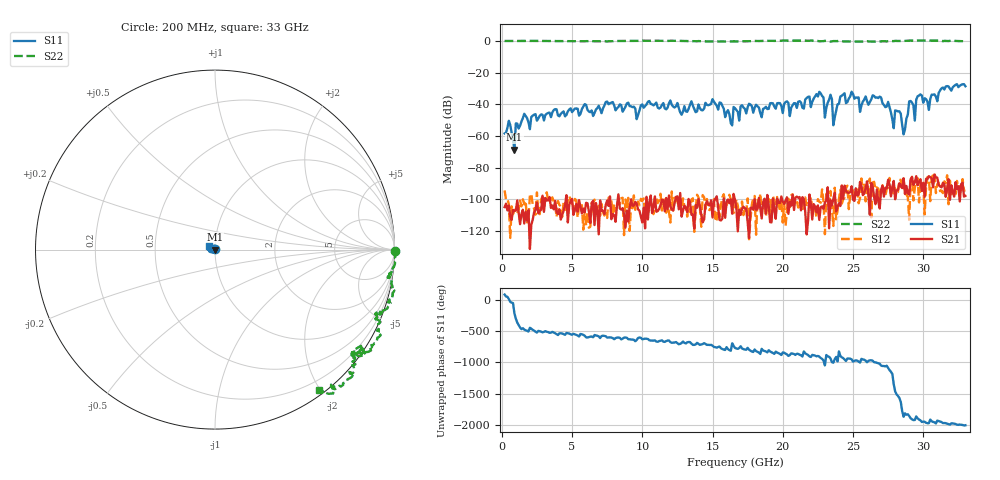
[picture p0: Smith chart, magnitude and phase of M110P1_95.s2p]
# GHZ S RI R 50
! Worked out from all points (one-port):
!   329 points, 200 MHz to 33 GHz, reference 50 ohm
!   lowest |S11| = -68.6 dB at 900 MHz (marker M1), VSWR 1.00, Z = 50 + j0.023 ohm
!   |S11| at or under -10 dB: start of sweep to end of sweep
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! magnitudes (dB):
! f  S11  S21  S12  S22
! 200 MHz  -58.4  -104.9  -94.4  0.0
! 500 MHz  -50.4  -104.0  -103.0  0.0
! 900 MHz  -68.6  -107.4  -106.6  0.0
! 1 GHz  -52.1  -107.0  -109.2  0.1
! 1.6 GHz  -46.0  -115.3  -103.2  0.0
! 5.7 GHz  -43.0  -109.0  -103.7  -0.2
! 11.2 GHz  -42.6  -106.1  -100.9  0.2
! 15 GHz  -36.8  -111.5  -102.9  -0.2
! 16.4 GHz  -53.3  -109.1  -104.5  -0.2
! 16.6 GHz  -42.4  -100.5  -105.2  -0.2
! 22.1 GHz  -38.4  -112.8  -105.6  0.2
! 22.7 GHz  -33.1  -105.0  -102.2  -0.2
! 23 GHz  -48.4  -102.1  -122.1  0.1
! 23.4 GHz  -34.0  -100.6  -94.8  -0.4
! 23.6 GHz  -53.2  -100.0  -116.9  0.0
! 24.4 GHz  -33.0  -91.4  -98.9  -0.3
! 27.6 GHz  -41.7  -90.6  -86.5  -0.1
! 28.6 GHz  -59.0  -86.7  -86.9  0.1
! 29 GHz  -38.1  -97.1  -113.1  0.3
! 29.4 GHz  -50.2  -89.3  -92.9  0.1
! 29.6 GHz  -34.9  -91.2  -86.6  0.4
! 33 GHz  -28.6  -97.9  -94.5  -0.2
